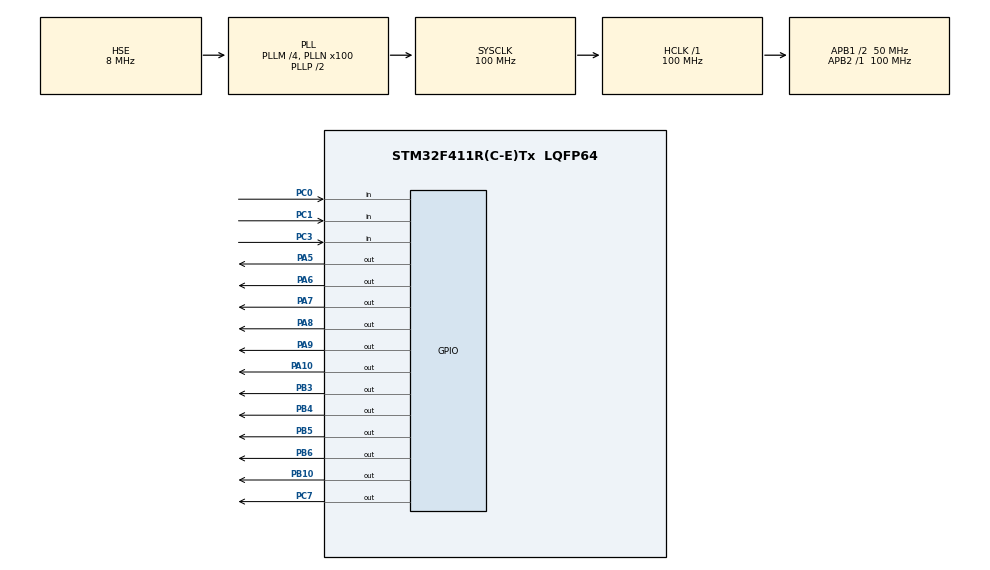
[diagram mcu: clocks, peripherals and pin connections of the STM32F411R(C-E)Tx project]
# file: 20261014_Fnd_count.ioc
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Mcu.Family=STM32F4
Mcu.Name=STM32F411R(C-E)Tx
Mcu.Package=LQFP64
NVIC.PriorityGroup=NVIC_PRIORITYGROUP_4
PA10.Signal=GPIO_Output
PA5.Signal=GPIO_Output
PA6.Signal=GPIO_Output
PA7.Signal=GPIO_Output
PA8.Signal=GPIO_Output
PA9.Signal=GPIO_Output
PB10.Signal=GPIO_Output
PB3.Signal=GPIO_Output
PB4.Signal=GPIO_Output
PB5.Signal=GPIO_Output
PB6.Signal=GPIO_Output
PC0.Signal=GPIO_Input
PC1.Signal=GPIO_Input
PC3.Signal=GPIO_Input
PC7.Signal=GPIO_Output
PH0\ -\ OSC_IN.Mode=HSE-External-Oscillator
PH0\ -\ OSC_IN.Signal=RCC_OSC_IN
PH1\ -\ OSC_OUT.Mode=HSE-External-Oscillator
PH1\ -\ OSC_OUT.Signal=RCC_OSC_OUT
ProjectManager.HeapSize=0x200
ProjectManager.StackSize=0x400
ProjectManager.TargetToolchain=STM32CubeIDE
RCC.48MHZClocksFreq_Value=50000000
RCC.AHBFreq_Value=100000000
RCC.APB1CLKDivider=RCC_HCLK_DIV2
RCC.APB1Freq_Value=50000000
RCC.APB1TimFreq_Value=100000000
RCC.APB2Freq_Value=100000000
RCC.APB2TimFreq_Value=100000000
RCC.CortexFreq_Value=100000000
RCC.HCLKFreq_Value=100000000
RCC.HSE_VALUE=8000000
RCC.HSI_VALUE=16000000
RCC.LSE_VALUE=32768
RCC.PLLM=4
RCC.PLLN=100
RCC.PLLSourceVirtual=RCC_PLLSOURCE_HSE
RCC.SYSCLKFreq_VALUE=100000000
RCC.SYSCLKSource=RCC_SYSCLKSOURCE_PLLCLK
RCC.VCOOutputFreq_Value=200000000
board=custom

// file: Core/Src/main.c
/* USER CODE BEGIN Header */
/**
 ******************************************************************************
 * @file           : main.c
 * @brief          : Main program body
 ******************************************************************************
 * @attention
 *
 * Copyright (c) 2026 STMicroelectronics.
 * All rights reserved.
 *
 * This software is licensed under terms that can be found in the LICENSE file
 * in the root directory of this software component.
 * If no LICENSE file comes with this software, it is provided AS-IS.
 *
 ******************************************************************************
 */
/* USER CODE END Header */
#include "main.h"

/* USER CODE BEGIN Includes */
#include "driver/fnd/fnd.h"
/* USER CODE END Includes */

/* USER CODE BEGIN PTD */
enum {RUN, STOP, CLEAR};
/* USER CODE END PTD */

/* USER CODE BEGIN PM */
#define BTN_RUN_GPIO	GPIOC
#define BTN_RUN_PIN		GPIO_PIN_0
#define BTN_STOP_GPIO	GPIOC
#define BTN_STOP_PIN	GPIO_PIN_1
#define BTN_CLEAR_GPIO	GPIOC
#define BTN_CLEAR_PIN	GPIO_PIN_3
/* USER CODE END PM */

void SystemClock_Config(void);
static void MX_GPIO_Init(void);

int main(void)
{

	/* MCU Configuration--------------------------------------------------------*/

	/* Reset of all peripherals, Initializes the Flash interface and the Systick. */
	HAL_Init();

	/* Configure the system clock */
	SystemClock_Config();

	/* Initialize all configured peripherals */
	MX_GPIO_Init();

	/* Infinite loop */
	/* USER CODE BEGIN WHILE */
	uint16_t counter = 0;
	uint32_t prevTime = 0;

	int state = STOP;

	while (1)
	{
		fnd_show_number(counter);

		switch(state)
		{
		case STOP:
			if(HAL_GPIO_ReadPin(BTN_RUN_GPIO, BTN_RUN_PIN) == 0) {

				state = RUN;
				prevTime = HAL_GetTick();
			}
			else if(HAL_GPIO_ReadPin(BTN_CLEAR_GPIO, BTN_CLEAR_PIN) == 0)
			{
				state = CLEAR;
			}
			break;

		case RUN:
			if(HAL_GPIO_ReadPin(BTN_STOP_GPIO, BTN_STOP_PIN) == 0) {

				state = STOP;
				break;
			}

			if(HAL_GetTick() - prevTime > 50) {
				prevTime = HAL_GetTick();

				if(counter == 9999) {
					counter = 0;
				}
				else{
					counter++;
				}
			}
			break;

		case CLEAR:
			counter = 0;
			state = STOP;
			break;
		}

		/* USER CODE END WHILE */

	}
}

void SystemClock_Config(void)
{
	RCC_OscInitTypeDef RCC_OscInitStruct = {0};
	RCC_ClkInitTypeDef RCC_ClkInitStruct = {0};

	/** Configure the main internal regulator output voltage
	 */
	__HAL_RCC_PWR_CLK_ENABLE();
	__HAL_PWR_VOLTAGESCALING_CONFIG(PWR_REGULATOR_VOLTAGE_SCALE1);

	/** Initializes the RCC Oscillators according to the specified parameters
	 * in the RCC_OscInitTypeDef structure.
	 */
	RCC_OscInitStruct.OscillatorType = RCC_OSCILLATORTYPE_HSE;
	RCC_OscInitStruct.HSEState = RCC_HSE_ON;
	RCC_OscInitStruct.PLL.PLLState = RCC_PLL_ON;
	RCC_OscInitStruct.PLL.PLLSource = RCC_PLLSOURCE_HSE;
	RCC_OscInitStruct.PLL.PLLM = 4;
	RCC_OscInitStruct.PLL.PLLN = 100;
	RCC_OscInitStruct.PLL.PLLP = RCC_PLLP_DIV2;
	RCC_OscInitStruct.PLL.PLLQ = 4;
	if (HAL_RCC_OscConfig(&RCC_OscInitStruct) != HAL_OK)
	{
		Error_Handler();
	}

	/** Initializes the CPU, AHB and APB buses clocks
	 */
	RCC_ClkInitStruct.ClockType = RCC_CLOCKTYPE_HCLK|RCC_CLOCKTYPE_SYSCLK
			|RCC_CLOCKTYPE_PCLK1|RCC_CLOCKTYPE_PCLK2;
	RCC_ClkInitStruct.SYSCLKSource = RCC_SYSCLKSOURCE_PLLCLK;
	RCC_ClkInitStruct.AHBCLKDivider = RCC_SYSCLK_DIV1;
	RCC_ClkInitStruct.APB1CLKDivider = RCC_HCLK_DIV2;
	RCC_ClkInitStruct.APB2CLKDivider = RCC_HCLK_DIV1;

	if (HAL_RCC_ClockConfig(&RCC_ClkInitStruct, FLASH_LATENCY_3) != HAL_OK)
	{
		Error_Handler();
	}
}

static void MX_GPIO_Init(void)
{
	GPIO_InitTypeDef GPIO_InitStruct = {0};

	/* GPIO Ports Clock Enable */
	__HAL_RCC_GPIOH_CLK_ENABLE();
	__HAL_RCC_GPIOA_CLK_ENABLE();
	__HAL_RCC_GPIOB_CLK_ENABLE();
	__HAL_RCC_GPIOC_CLK_ENABLE();

	/*Configure GPIO pin Output Level */
	HAL_GPIO_WritePin(GPIOA, GPIO_PIN_5|GPIO_PIN_6|GPIO_PIN_7|GPIO_PIN_8
			|GPIO_PIN_9|GPIO_PIN_10, GPIO_PIN_RESET);

	/*Configure GPIO pin Output Level */
	HAL_GPIO_WritePin(GPIOB, GPIO_PIN_10|GPIO_PIN_3|GPIO_PIN_4|GPIO_PIN_5
			|GPIO_PIN_6, GPIO_PIN_RESET);

	/*Configure GPIO pin Output Level */
	HAL_GPIO_WritePin(GPIOC, GPIO_PIN_7, GPIO_PIN_RESET);

	/*Configure GPIO pins : PA5 PA6 PA7 PA8
                           PA9 PA10 */
	GPIO_InitStruct.Pin = GPIO_PIN_5|GPIO_PIN_6|GPIO_PIN_7|GPIO_PIN_8
			|GPIO_PIN_9|GPIO_PIN_10;
	GPIO_InitStruct.Mode = GPIO_MODE_OUTPUT_PP;
	GPIO_InitStruct.Pull = GPIO_NOPULL;
	GPIO_InitStruct.Speed = GPIO_SPEED_FREQ_LOW;
	HAL_GPIO_Init(GPIOA, &GPIO_InitStruct);

	/*Configure GPIO pins : PB10 PB3 PB4 PB5
                           PB6 */
	GPIO_InitStruct.Pin = GPIO_PIN_10|GPIO_PIN_3|GPIO_PIN_4|GPIO_PIN_5
			|GPIO_PIN_6;
	GPIO_InitStruct.Mode = GPIO_MODE_OUTPUT_PP;
	GPIO_InitStruct.Pull = GPIO_NOPULL;
	GPIO_InitStruct.Speed = GPIO_SPEED_FREQ_LOW;
	HAL_GPIO_Init(GPIOB, &GPIO_InitStruct);

	/*Configure GPIO pin : PC7 */
	GPIO_InitStruct.Pin = GPIO_PIN_7;
	GPIO_InitStruct.Mode = GPIO_MODE_OUTPUT_PP;
	GPIO_InitStruct.Pull = GPIO_NOPULL;
	GPIO_InitStruct.Speed = GPIO_SPEED_FREQ_LOW;
	HAL_GPIO_Init(GPIOC, &GPIO_InitStruct);

}

void Error_Handler(void)
{
	__disable_irq();
	while (1)
	{
	}
}
